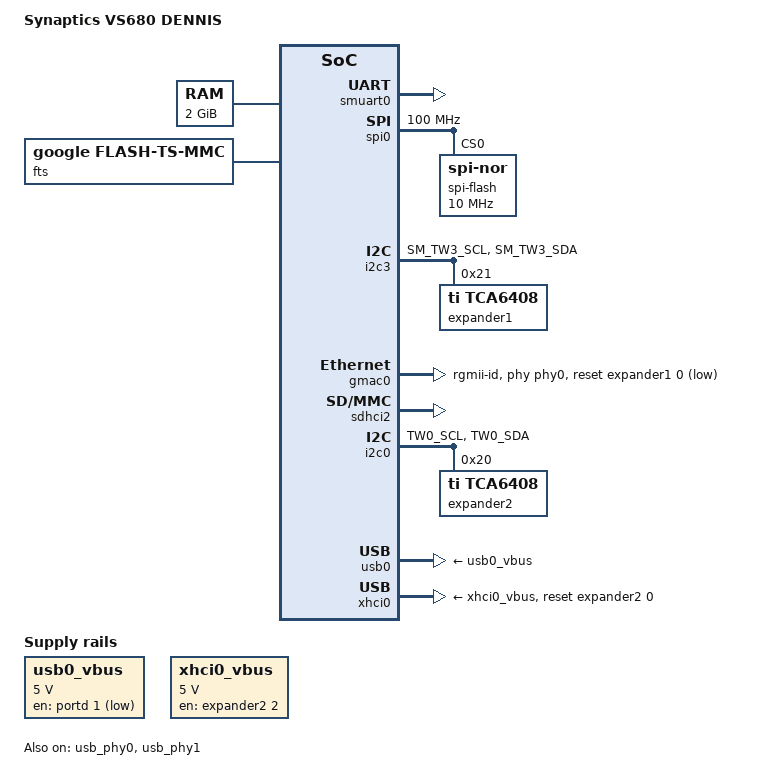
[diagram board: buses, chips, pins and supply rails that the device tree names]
/* SPDX-License-Identifier: GPL-2.0+ */
/*
 * Copyright (C) 2020 Synaptics Incorporated
 *
 * Author: Xu Wang <xu.wong@synaptics.com>
 *
 */

/dts-v1/;

#include "vs680.dtsi"
#include "include/dt-bindings/gpio/gpio.h"

/ {
	model = "Synaptics VS680 DENNIS";
	compatible = "Synaptics,vs680", "Synaptics,asserial";

	memory {
		device_type = "memory";
		reg = <0 0 0 0x80000000>;
	};

	fts {
		compatible = "google,flash-ts-mmc";
	};

	chosen {
                stdout-path = &smuart0;
        };

	regulators {
		compatible = "simple-bus";
		#address-cells = <1>;
		#size-cells = <0>;

		usb0_vbus: regulator@0 {
			compatible = "regulator-fixed";
			regulator-name = "usb0_vbus";
			regulator-min-microvolt = <5000000>;
			regulator-max-microvolt = <5000000>;
			gpio = <&portd 1 GPIO_ACTIVE_LOW>;
		};

		xhci0_vbus: xhci0_vbus {
			compatible = "regulator-fixed";
			regulator-name = "xhci0_vbus";
			regulator-min-microvolt = <5000000>;
			regulator-max-microvolt = <5000000>;
			gpio = <&expander2 2 GPIO_ACTIVE_HIGH>;
			enable-active-high;
		};
	};
};

&sysmgr_pinctrl {
	sm_i2c_tw3_pmux: sm_i2c_tw3_pmux {
		groups = "SM_TW3_SCL", "SM_TW3_SDA";
		function = "tw3";
	};
};

&pinctrl {
	emmc_pmux: emmc-pmux {
                groups = "NAND_IO0", "NAND_IO1", "NAND_IO2", "NAND_IO3", "NAND_IO4", "NAND_IO5", "ND_IO6", "NAND_IO7", "NAND_ALE", "NAND_CLE", "NAND_WPn";
                function = "emmc";
        };

	usb2_vbus_pmux: usb_vbus_pmux {
		groups = "USB2_DRV_VBUS";
		function = "gpio";
	};

	i2c_tw0_pmux: i2c_tw0_pmux {
		groups = "TW0_SCL", "TW0_SDA";
		function = "tw0";
	};
};

&CPU_SLEEP_0 {
	status = "disabled";
};

&smuart0 {
	status = "okay";
};

&spi0 {
	status = "okay";
	max-write-size = <128>;
	clock-frequency = <100000000>;
	spi-flash@0 {
		#address-cells = <1>;
		#size-cells = <1>;
		compatible = "jedec,spi-nor";
		reg = <0>;
		memory-map = <0x0 0xf0000000 0x0 0x4000000>;
		spi-max-frequency = <10000000>;
        };
};

&phy0 {
	reg = <0>;
};

&i2c3 {
	status = "okay";
	pinctrl-names = "default";
	pinctrl-0 = <&sm_i2c_tw3_pmux>;
	expander1: gpio@21 {
		compatible = "ti,tca6408";
		reg = <0x21>;
		gpio-controller;
		#gpio-cells = <2>;
	};
};

&gmac0 {
	status = "okay";
	max-speed = <1000>;
	phy-mode = "rgmii-id";
	phy-handle = <&phy0>;
	phy = <&phy0>;
	snps,reset-gpio = <&expander1 0 GPIO_ACTIVE_LOW>;
	snps,reset-active-low;
	snps,reset-delays-us = <0 10000 50000>;
};

&sdhci2 {
	status = "okay";
	max-frequency = <50000000>;
	cap-mmc-highspeed;
	1_8v-signalling;
};

&i2c0 {
	status = "okay";
	pinctrl-names = "default";
	pinctrl-0 = <&i2c_tw0_pmux>;
	expander2: gpio@20 {
		compatible = "ti,tca6408";
		reg = <0x20>;
		gpio-controller;
		#gpio-cells = <2>;
	};
};

&usb_phy0 {
	status = "okay";
};

&usb0 {
	vbus-supply = <&usb0_vbus>;
	status = "okay";
};

&usb_phy1 {
	status = "okay";
};

&xhci0 {
	vbus-supply = <&xhci0_vbus>;
	snps,reset-gpio = <&expander2 0 GPIO_ACTIVE_HIGH>;
	snps,reset-active-high;
	status = "okay";
};
